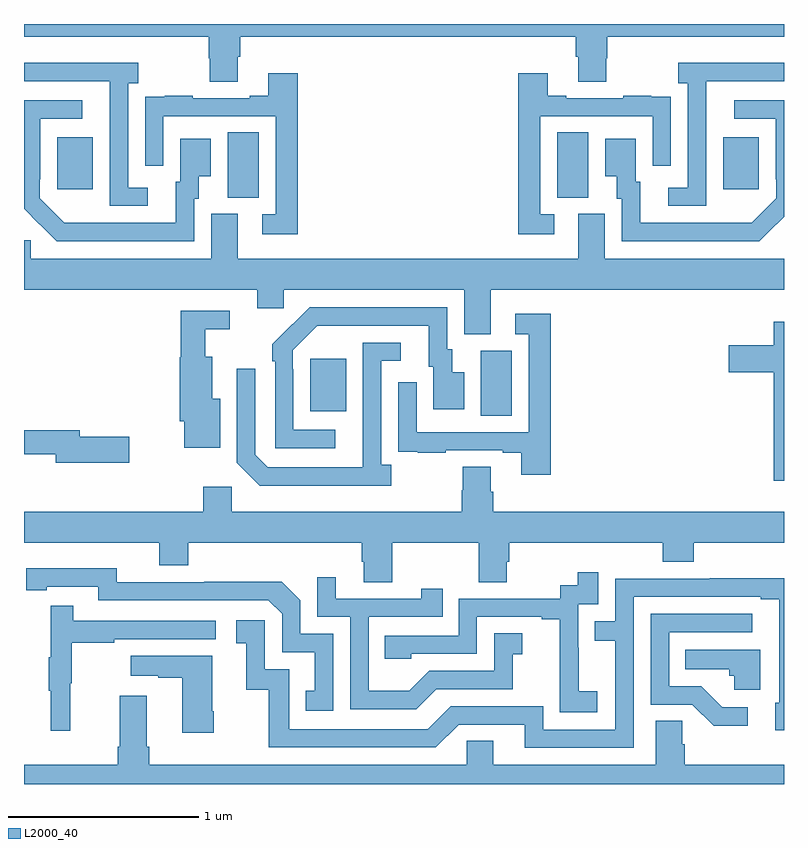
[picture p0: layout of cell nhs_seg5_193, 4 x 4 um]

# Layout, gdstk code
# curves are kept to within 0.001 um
import gdstk
lib = gdstk.Library(unit=1e-6, precision=1e-09)
def R(c, l, rs):  # rectangles x0, y0, x1, y1
    for r in rs: c.add(gdstk.rectangle(r[:2], r[2:], *l))
def P(c, l, *ps):  # polygons
    for p in ps: c.add(gdstk.Polygon(p, *l))
L2000_40 = (2000, 40)

nhs_seg5_193 = lib.new_cell('nhs_seg5_193')
R(nhs_seg5_193, L2000_40, [(123.404,882.736,123.568,883.08), (122.507,882.761,122.695,883.036), (122.072,883.885,122.236,884.228), (123.806,883.885,123.97,884.228), (121.175,883.929,121.363,884.203), (124.679,883.929,124.867,884.203)])
P(nhs_seg5_193, L2000_40, [(122.125,884.626),(122.138,884.626),(122.138,884.732),(123.905,884.732),(123.905,884.626),(123.917,884.626),(123.917,884.494),(124.065,884.494),(124.065,884.619),(124.07,884.619),(124.07,884.732),(125,884.732),(125,884.799),(121,884.799),(121,884.732),(121.973,884.732),(121.973,884.619),(121.978,884.619),(121.978,884.494),(122.125,884.494)],
  [(121.651,883.938),(121.548,883.938),(121.548,884.486),(121.6,884.486),(121.6,884.596),(121,884.596),(121,884.499),(121.451,884.499),(121.451,884.299),(121.452,884.299),(121.452,883.842),(121.651,883.842)],
  [(124.59,884.299),(124.591,884.299),(124.591,884.499),(125,884.499),(125,884.596),(124.443,884.596),(124.443,884.486),(124.494,884.486),(124.494,883.938),(124.392,883.938),(124.392,883.842),(124.59,883.842)],
  [(123.79,883.797),(123.717,883.797),(123.717,884.313),(124.308,884.313),(124.308,884.052),(124.404,884.052),(124.404,884.306),(124.403,884.306),(124.403,884.415),(124.301,884.415),(124.301,884.422),(124.153,884.422),(124.153,884.409),(123.853,884.409),(123.853,884.422),(123.757,884.422),(123.757,884.539),(123.601,884.539),(123.601,883.692),(123.79,883.692)],
  [(122.441,884.539),(122.285,884.539),(122.285,884.422),(122.189,884.422),(122.189,884.409),(121.889,884.409),(121.889,884.422),(121.741,884.422),(121.741,884.415),(121.639,884.415),(121.639,884.306),(121.638,884.306),(121.638,884.052),(121.734,884.052),(121.734,884.313),(122.325,884.313),(122.325,883.797),(122.253,883.797),(122.253,883.692),(122.441,883.692)],
  [(121.896,883.878),(121.921,883.878),(121.921,883.997),(121.984,883.997),(121.984,884.194),(121.823,884.194),(121.823,883.968),(121.799,883.968),(121.799,883.752),(121.212,883.753),(121.083,883.881),(121.083,883.981),(121.086,883.981),(121.086,884.301),(121.306,884.301),(121.306,884.397),(121,884.397),(121,883.826),(121.172,883.656),(121.896,883.656)],
  [(124.961,883.747),(124.962,883.746),(125,883.784),(125,884.397),(124.737,884.397),(124.737,884.301),(124.956,884.301),(124.956,883.981),(124.959,883.981),(124.959,883.881),(124.831,883.753),(124.243,883.752),(124.243,883.968),(124.219,883.968),(124.219,884.194),(124.058,884.194),(124.058,883.997),(124.121,883.997),(124.121,883.878),(124.146,883.878),(124.146,883.656),(124.87,883.656)],
  [(123.457,883.4),(125,883.4),(125,883.564),(124.057,883.564),(124.057,883.8),(123.917,883.8),(123.917,883.564),(122.125,883.564),(122.125,883.8),(121.985,883.8),(121.985,883.564),(121.035,883.564),(121.035,883.662),(121,883.662),(121,883.4),(122.228,883.4),(122.228,883.302),(122.367,883.302),(122.367,883.4),(123.317,883.4),(123.317,883.165),(123.457,883.165)],
  [(122.638,882.663),(122.418,882.663),(122.418,882.983),(122.415,882.983),(122.415,883.083),(122.544,883.212),(123.131,883.212),(123.131,882.996),(123.155,882.996),(123.155,882.771),(123.316,882.771),(123.316,882.967),(123.253,882.967),(123.253,883.086),(123.228,883.086),(123.228,883.308),(122.504,883.308),(122.307,883.113),(122.307,883.025),(122.322,883.025),(122.322,882.567),(122.638,882.567)],
  [(122.032,882.826),(121.99,882.826),(121.99,883.048),(121.954,883.048),(121.954,883.193),(122.083,883.193),(122.083,883.29),(121.825,883.29),(121.825,883.044),(121.82,883.044),(121.82,882.708),(121.844,882.708),(121.844,882.569),(122.032,882.569)],
  [(123.773,883.273),(123.585,883.273),(123.585,883.167),(123.657,883.167),(123.657,882.651),(123.066,882.651),(123.066,882.913),(122.97,882.913),(122.97,882.658),(122.971,882.658),(122.971,882.549),(123.073,882.549),(123.073,882.543),(123.221,882.543),(123.221,882.555),(123.521,882.555),(123.521,882.543),(123.617,882.543),(123.617,882.426),(123.773,882.426)],
  [(125,883.231),(124.946,883.231),(124.946,883.107),(124.71,883.107),(124.71,882.965),(124.946,882.965),(124.946,882.396),(125,882.396)],
  [(122.932,882.478),(122.88,882.478),(122.88,883.026),(122.983,883.026),(122.983,883.122),(122.784,883.122),(122.783,882.465),(122.283,882.465),(122.217,882.531),(122.217,882.985),(122.121,882.985),(122.121,882.489),(122.242,882.368),(122.932,882.368)],
  [(121.555,882.626),(121.294,882.626),(121.294,882.662),(121,882.662),(121,882.534),(121.166,882.534),(121.166,882.491),(121.555,882.491)],
  [(122.937,882.068),(123.394,882.068),(123.394,881.86),(123.541,881.86),(123.541,881.97),(123.554,881.97),(123.554,882.068),(124.361,882.068),(124.361,881.969),(124.526,881.969),(124.526,882.068),(125,882.068),(125,882.232),(123.47,882.232),(123.47,882.338),(123.457,882.338),(123.457,882.47),(123.31,882.47),(123.31,882.345),(123.305,882.345),(123.305,882.232),(122.094,882.232),(122.094,882.364),(121.943,882.364),(121.943,882.232),(121,882.232),(121,882.068),(121.712,882.068),(121.712,881.951),(121.865,881.951),(121.865,882.068),(122.777,882.068),(122.777,881.97),(122.789,881.97),(122.789,881.86),(122.937,881.86)],
  [(122.628,881.589),(122.454,881.589),(122.454,881.766),(122.356,881.864),(121.948,881.864),(121.948,881.862),(121.488,881.862),(121.488,881.935),(121.012,881.934),(121.012,881.818),(121.12,881.818),(121.12,881.838),(121.392,881.838),(121.392,881.766),(122.286,881.766),(122.358,881.694),(122.358,881.493),(122.531,881.493),(122.531,881.289),(122.482,881.289),(122.482,881.184),(122.628,881.184)],
  [(124.018,881.287),(123.92,881.287),(123.92,881.516),(123.918,881.516),(123.918,881.745),(124.023,881.745),(124.023,881.914),(123.915,881.914),(123.915,881.844),(123.822,881.844),(123.822,881.775),(123.288,881.775),(123.288,881.58),(122.899,881.58),(122.899,881.457),(123.039,881.457),(123.039,881.484),(123.384,881.484),(123.384,881.679),(123.725,881.679),(123.725,881.667),(123.821,881.667),(123.821,881.383),(123.82,881.383),(123.82,881.177),(124.018,881.177)],
  [(123.169,881.298),(123.573,881.298),(123.573,881.483),(123.622,881.483),(123.622,881.593),(123.474,881.593),(123.474,881.394),(123.132,881.394),(123.028,881.29),(122.814,881.29),(122.814,881.679),(123.203,881.679),(123.203,881.827),(123.092,881.827),(123.092,881.775),(122.641,881.775),(122.641,881.887),(122.544,881.887),(122.544,881.679),(122.718,881.679),(122.718,881.193),(123.064,881.193)],
  [(124.209,881.784),(124.877,881.784),(124.877,881.772),(124.974,881.772),(124.974,881.226),(124.955,881.226),(124.955,881.082),(125,881.082),(125,881.882),(124.609,881.882),(124.609,881.88),(124.113,881.88),(124.113,881.655),(124.003,881.655),(124.003,881.554),(124.113,881.554),(124.113,881.085),(123.732,881.085),(123.732,881.208),(123.246,881.208),(123.126,881.088),(122.397,881.088),(122.397,881.403),(122.268,881.403),(122.268,881.662),(122.118,881.662),(122.118,881.541),(122.171,881.541),(122.171,881.295),(122.289,881.295),(122.289,880.992),(123.168,880.992),(123.288,881.112),(123.635,881.112),(123.635,880.989),(124.209,880.989)],
  [(121.244,881.328),(121.252,881.328),(121.252,881.542),(121.475,881.542),(121.475,881.562),(122.008,881.562),(122.008,881.658),(121.259,881.658),(121.259,881.737),(121.142,881.737),(121.142,881.465),(121.131,881.465),(121.131,881.291),(121.142,881.291),(121.142,881.079),(121.244,881.079)],
  [(124.81,881.202),(124.675,881.202),(124.564,881.313),(124.395,881.313),(124.395,881.598),(124.834,881.598),(124.834,881.694),(124.299,881.694),(124.299,881.217),(124.518,881.217),(124.631,881.105),(124.81,881.105)],
  [(124.876,881.506),(124.48,881.506),(124.48,881.402),(124.711,881.402),(124.711,881.37),(124.737,881.37),(124.737,881.294),(124.876,881.294)],
  [(121.998,881.182),(121.99,881.182),(121.99,881.473),(121.563,881.473),(121.563,881.369),(121.706,881.369),(121.706,881.359),(121.832,881.359),(121.832,881.07),(121.998,881.07)],
  [(125,880.9),(124.478,880.9),(124.478,881.009),(124.464,881.009),(124.464,881.132),(124.325,881.132),(124.325,880.9),(123.469,880.9),(123.469,881.027),(123.33,881.027),(123.33,880.9),(121.658,880.9),(121.658,880.996),(121.645,880.996),(121.645,881.263),(121.505,881.263),(121.505,880.996),(121.493,880.996),(121.493,880.9),(121,880.9),(121,880.799),(125,880.799)])

lib.write_gds('nhs_seg5_193.gds')
